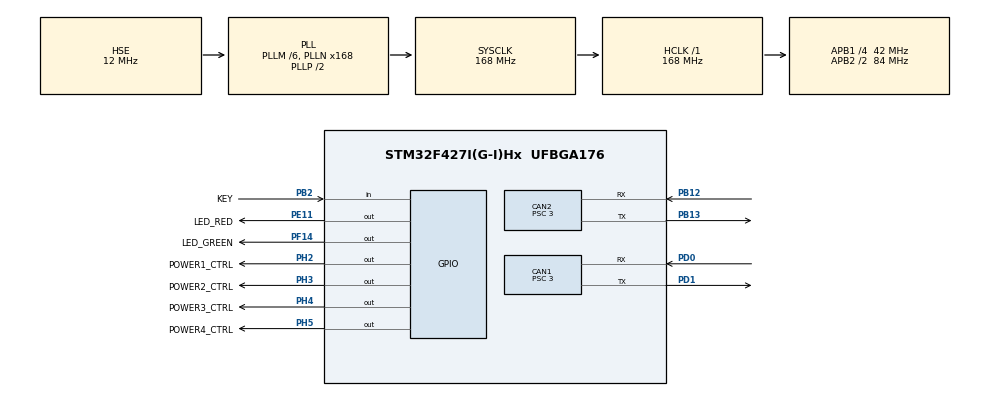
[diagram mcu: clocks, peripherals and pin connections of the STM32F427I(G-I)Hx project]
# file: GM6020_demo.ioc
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CAN1.ABOM=DISABLE
CAN1.BS1=CAN_BS1_10TQ
CAN1.BS2=CAN_BS2_3TQ
CAN1.CalculateTimeQuantum=71.42857142857143
CAN1.NART=DISABLE
CAN1.Prescaler=3
CAN1.SJW=CAN_SJW_1TQ
CAN2.ABOM=DISABLE
CAN2.BS1=CAN_BS1_10TQ
CAN2.BS2=CAN_BS2_3TQ
CAN2.CalculateTimeQuantum=71.42857142857143
CAN2.Prescaler=3
Mcu.Family=STM32F4
Mcu.Name=STM32F427I(G-I)Hx
Mcu.Package=UFBGA176
NVIC.CAN1_RX0_IRQn=true\:0\:0\:false\:false\:true\:true\:true\:true
NVIC.CAN2_RX0_IRQn=true\:0\:0\:false\:false\:true\:true\:true\:true
NVIC.PriorityGroup=NVIC_PRIORITYGROUP_4
PA13.Mode=Serial_Wire
PA13.Signal=SYS_JTMS-SWDIO
PA14.Mode=Serial_Wire
PA14.Signal=SYS_JTCK-SWCLK
PB12.GPIO_PuPd=GPIO_NOPULL
PB12.Mode=Slave
PB12.Signal=CAN2_RX
PB13.GPIO_PuPd=GPIO_NOPULL
PB13.Mode=Slave
PB13.Signal=CAN2_TX
PB2/BOOT1.GPIO_Label=KEY
PB2/BOOT1.Signal=GPIO_Input
PD0.Mode=Master
PD0.Signal=CAN1_RX
PD1.Mode=Master
PD1.Signal=CAN1_TX
PE11.GPIO_Label=LED_RED
PE11.Signal=GPIO_Output
PE13.Signal=S_TIM1_CH3
PE14.Signal=S_TIM1_CH4
PF14.GPIO_Label=LED_GREEN
PF14.Signal=GPIO_Output
PH0/OSC_IN.Mode=HSE-External-Oscillator
PH0/OSC_IN.Signal=RCC_OSC_IN
PH1/OSC_OUT.Mode=HSE-External-Oscillator
PH1/OSC_OUT.Signal=RCC_OSC_OUT
PH2.GPIO_Label=POWER1_CTRL
PH2.Signal=GPIO_Output
PH3.GPIO_Label=POWER2_CTRL
PH3.Signal=GPIO_Output
PH4.GPIO_Label=POWER3_CTRL
PH4.Signal=GPIO_Output
PH5.GPIO_Label=POWER4_CTRL
PH5.Signal=GPIO_Output
ProjectManager.HeapSize=0x200
ProjectManager.StackSize=0x400
ProjectManager.TargetToolchain=MDK-ARM V5
RCC.48MHZClocksFreq_Value=84000000
RCC.AHBFreq_Value=168000000
RCC.APB1CLKDivider=RCC_HCLK_DIV4
RCC.APB1Freq_Value=42000000
RCC.APB1TimFreq_Value=84000000
RCC.APB2CLKDivider=RCC_HCLK_DIV2
RCC.APB2Freq_Value=84000000
RCC.APB2TimFreq_Value=168000000
RCC.CortexFreq_Value=168000000
RCC.HCLKFreq_Value=168000000
RCC.HSE_VALUE=12000000
RCC.HSI_VALUE=16000000
RCC.LSE_VALUE=32768
RCC.PLLM=6
RCC.PLLN=168
RCC.PLLSourceVirtual=RCC_PLLSOURCE_HSE
RCC.SYSCLKFreq_VALUE=168000000
RCC.SYSCLKSource=RCC_SYSCLKSOURCE_PLLCLK
RCC.VCOOutputFreq_Value=336000000
SH.S_TIM1_CH3.0=TIM1_CH3
SH.S_TIM1_CH4.0=TIM1_CH4
board=PWM

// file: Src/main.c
/* USER CODE BEGIN Header */
/**
 ******************************************************************************
 * @file           : main.c
 * @brief          : Main program body
 ******************************************************************************
 ** This notice applies to any and all portions of this file
 * that are not between comment pairs USER CODE BEGIN and
 * USER CODE END. Other portions of this file, whether
 * inserted by the user or by software development tools
 * are owned by their respective copyright owners.
 *
 * COPYRIGHT(c) 2018 STMicroelectronics
 *
 * Redistribution and use in source and binary forms, with or without modification,
 * are permitted provided that the following conditions are met:
 *   1. Redistributions of source code must retain the above copyright notice,
 *      this list of conditions and the following disclaimer.
 *   2. Redistributions in binary form must reproduce the above copyright notice,
 *      this list of conditions and the following disclaimer in the documentation
 *      and/or other materials provided with the distribution.
 *   3. Neither the name of STMicroelectronics nor the names of its contributors
 *      may be used to endorse or promote products derived from this software
 *      without specific prior written permission.
 *
 * THIS SOFTWARE IS PROVIDED BY THE COPYRIGHT HOLDERS AND CONTRIBUTORS "AS IS"
 * AND ANY EXPRESS OR IMPLIED WARRANTIES, INCLUDING, BUT NOT LIMITED TO, THE
 * IMPLIED WARRANTIES OF MERCHANTABILITY AND FITNESS FOR A PARTICULAR PURPOSE ARE
 * DISCLAIMED. IN NO EVENT SHALL THE COPYRIGHT HOLDER OR CONTRIBUTORS BE LIABLE
 * FOR ANY DIRECT, INDIRECT, INCIDENTAL, SPECIAL, EXEMPLARY, OR CONSEQUENTIAL
 * DAMAGES (INCLUDING, BUT NOT LIMITED TO, PROCUREMENT OF SUBSTITUTE GOODS OR
 * SERVICES; LOSS OF USE, DATA, OR PROFITS; OR BUSINESS INTERRUPTION) HOWEVER
 * CAUSED AND ON ANY THEORY OF LIABILITY, WHETHER IN CONTRACT, STRICT LIABILITY,
 * OR TORT (INCLUDING NEGLIGENCE OR OTHERWISE) ARISING IN ANY WAY OUT OF THE USE
 * OF THIS SOFTWARE, EVEN IF ADVISED OF THE POSSIBILITY OF SUCH DAMAGE.
 *
 ******************************************************************************
 */
/* USER CODE END Header */

#include "main.h"
#include "can.h"
#include "gpio.h"

/* USER CODE BEGIN Includes */
#include "bsp_can.h"
#include "pid.h"
/* USER CODE END Includes */

/* USER CODE BEGIN PM */
#define CHASSIS_CONTROL_TIME_MS 2
#define CHASSIS_STEER_MOTOR_CONTROL_TIME_MS (CHASSIS_CONTROL_TIME_MS / 2) // faster turning control

#define HALF_ECD_RANGE 4096
#define ECD_RANGE 8192
#define MOTOR_ECD_TO_RAD 0.000766990394f // (2*PI)/8192

#define M6020_MOTOR_ANGLE_PID_KP 92.0f
#define M6020_MOTOR_ANGLE_PID_KI 1.5f
#define M6020_MOTOR_ANGLE_PID_KD 1.5f
// chassis 6020 max motor control voltage
#define MAX_MOTOR_CAN_VOLTAGE 20000.0f
#define M6020_MOTOR_ANGLE_PID_MAX_OUT MAX_MOTOR_CAN_VOLTAGE
#define M6020_MOTOR_ANGLE_PID_MAX_IOUT 10000.0f

#define M6020_MOTOR_0_ANGLE_ECD_OFFSET 1662U
#define M6020_MOTOR_1_ANGLE_ECD_OFFSET 3742U
#define M6020_MOTOR_2_ANGLE_ECD_OFFSET 5720U
#define M6020_MOTOR_3_ANGLE_ECD_OFFSET 2827U
/* USER CODE END PM */

/* USER CODE BEGIN PV */
extern moto_info_t motor_info[STEER_MOTOR_COUNT];
pid_struct_t motor_pid[STEER_MOTOR_COUNT];
/* USER CODE END PV */

void SystemClock_Config(void);
float abs_angle_pid_calc(pid_struct_t *pid, float target_ecd, float feedback_ecd);

int main(void)
{

  /* MCU Configuration--------------------------------------------------------*/

  /* Reset of all peripherals, Initializes the Flash interface and the Systick. */
  HAL_Init();

  /* Configure the system clock */
  SystemClock_Config();

  /* Initialize all configured peripherals */
  MX_GPIO_Init();
  MX_CAN1_Init();
  MX_CAN2_Init();
  /* USER CODE BEGIN 2 */
  HAL_GPIO_WritePin(GPIOH, POWER1_CTRL_Pin | POWER2_CTRL_Pin | POWER3_CTRL_Pin | POWER4_CTRL_Pin, GPIO_PIN_SET); // switch on 24v power
  can_user_init();                                                                                               // config can filter, start can
  const static uint16_t steer_motor_offset_ecd[4] = {M6020_MOTOR_0_ANGLE_ECD_OFFSET, M6020_MOTOR_1_ANGLE_ECD_OFFSET, M6020_MOTOR_2_ANGLE_ECD_OFFSET, M6020_MOTOR_3_ANGLE_ECD_OFFSET};
  for (uint8_t i = 0; i < STEER_MOTOR_COUNT; i++)
  {
    pid_init(&motor_pid[i], M6020_MOTOR_ANGLE_PID_KP, M6020_MOTOR_ANGLE_PID_KI, M6020_MOTOR_ANGLE_PID_KD, M6020_MOTOR_ANGLE_PID_MAX_IOUT, M6020_MOTOR_ANGLE_PID_MAX_OUT);
    motor_info[i].offset_ecd = steer_motor_offset_ecd[i];
  }
  /* USER CODE END 2 */

  /* Infinite loop */
  while (1)
  {
    for (uint8_t i = 0; i < STEER_MOTOR_COUNT; i++)
    {
      motor_info[i].set_voltage = abs_angle_pid_calc(&motor_pid[i], (float)motor_info[i].target_ecd, (float)motor_info[i].feedback_ecd - (float)motor_info[i].offset_ecd);
    }
    /* send motor control message through can bus*/
    CAN_cmd_steer_motors(0, motor_info[0].set_voltage, motor_info[1].set_voltage, motor_info[2].set_voltage, motor_info[3].set_voltage);

    HAL_Delay(CHASSIS_STEER_MOTOR_CONTROL_TIME_MS);
  }
}

void SystemClock_Config(void)
{
  RCC_OscInitTypeDef RCC_OscInitStruct = {0};
  RCC_ClkInitTypeDef RCC_ClkInitStruct = {0};

  /**Configure the main internal regulator output voltage
   */
  __HAL_RCC_PWR_CLK_ENABLE();
  __HAL_PWR_VOLTAGESCALING_CONFIG(PWR_REGULATOR_VOLTAGE_SCALE1);
  /**Initializes the CPU, AHB and APB busses clocks
   */
  RCC_OscInitStruct.OscillatorType = RCC_OSCILLATORTYPE_HSE;
  RCC_OscInitStruct.HSEState = RCC_HSE_ON;
  RCC_OscInitStruct.PLL.PLLState = RCC_PLL_ON;
  RCC_OscInitStruct.PLL.PLLSource = RCC_PLLSOURCE_HSE;
  RCC_OscInitStruct.PLL.PLLM = 6;
  RCC_OscInitStruct.PLL.PLLN = 168;
  RCC_OscInitStruct.PLL.PLLP = RCC_PLLP_DIV2;
  RCC_OscInitStruct.PLL.PLLQ = 4;
  if (HAL_RCC_OscConfig(&RCC_OscInitStruct) != HAL_OK)
  {
    Error_Handler();
  }
  /**Initializes the CPU, AHB and APB busses clocks
   */
  RCC_ClkInitStruct.ClockType = RCC_CLOCKTYPE_HCLK | RCC_CLOCKTYPE_SYSCLK | RCC_CLOCKTYPE_PCLK1 | RCC_CLOCKTYPE_PCLK2;
  RCC_ClkInitStruct.SYSCLKSource = RCC_SYSCLKSOURCE_PLLCLK;
  RCC_ClkInitStruct.AHBCLKDivider = RCC_SYSCLK_DIV1;
  RCC_ClkInitStruct.APB1CLKDivider = RCC_HCLK_DIV4;
  RCC_ClkInitStruct.APB2CLKDivider = RCC_HCLK_DIV2;

  if (HAL_RCC_ClockConfig(&RCC_ClkInitStruct, FLASH_LATENCY_5) != HAL_OK)
  {
    Error_Handler();
  }
}

/* USER CODE BEGIN 4 */
/**
 * @brief Constrain ecd to range [-HALF_ECD_RANGE,HALF_ECD_RANGE]
 */
float loop_ecd_constrain(float Input)
{
  if (Input > HALF_ECD_RANGE)
  {
    while (Input > HALF_ECD_RANGE)
    {
      Input -= ECD_RANGE;
    }
  }
  else if (Input < -HALF_ECD_RANGE)
  {
    while (Input < -HALF_ECD_RANGE)
    {
      Input += ECD_RANGE;
    }
  }
  return Input;
}

/**
  * @brief  pid calculation
  * @param  pid struct
    @param  target_ecd encoder range [-HALF_ECD_RANGE, HALF_ECD_RANGE]
    @param  feedback_ecd encoder range [-HALF_ECD_RANGE, HALF_ECD_RANGE]
  * @retval calculation result
  */
float abs_angle_pid_calc(pid_struct_t *pid, float target_ecd, float feedback_ecd)
{
  pid->err[1] = pid->err[0];
  pid->err[0] = loop_ecd_constrain(target_ecd - feedback_ecd);

  pid->p_out = pid->kp * pid->err[0];
  pid->i_out += pid->ki * pid->err[0];
  pid->d_out = pid->kd * (pid->err[0] - pid->err[1]);
  LIMIT_MIN_MAX(pid->i_out, -pid->i_max, pid->i_max);

  pid->output = pid->p_out + pid->i_out + pid->d_out;
  LIMIT_MIN_MAX(pid->output, -pid->out_max, pid->out_max);
  return pid->output;
}
/* USER CODE END 4 */

void Error_Handler(void)
{
}

/************************ (C) COPYRIGHT STMicroelectronics *****END OF FILE****/
